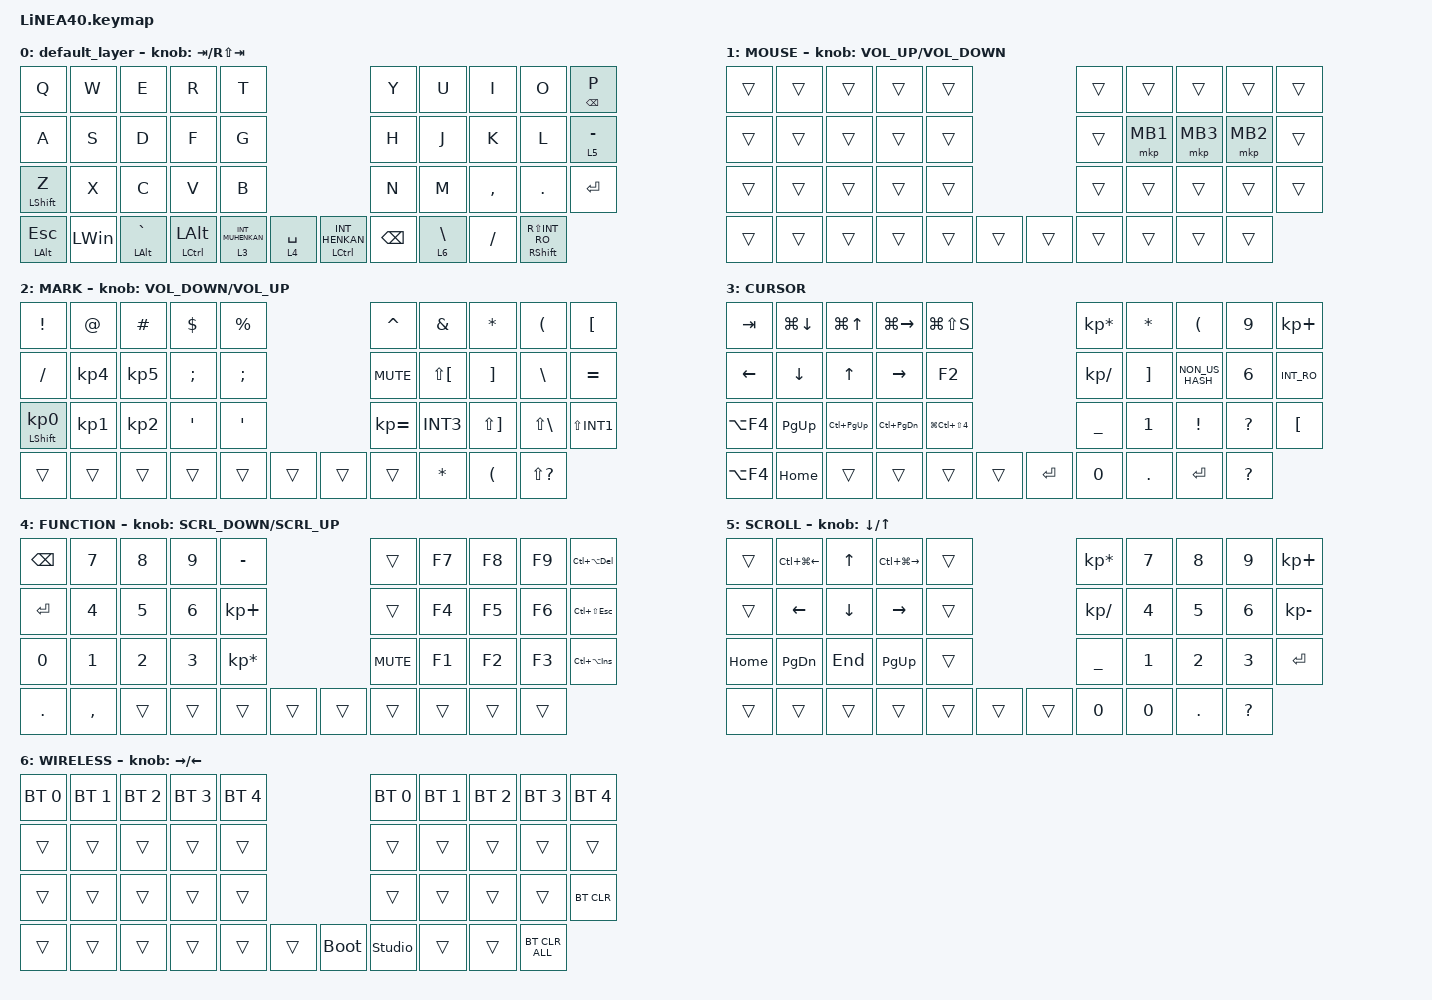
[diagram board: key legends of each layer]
#define ZMK_POINTING_DEFAULT_SCRL_VAL 150

#include <dt-bindings/zmk/input_transform.h>
#include <input/processors.dtsi>
#include <zephyr/dt-bindings/input/input-event-codes.h>
#include <behaviors.dtsi>
#include <dt-bindings/zmk/bt.h>
#include <dt-bindings/zmk/keys.h>
#include <dt-bindings/zmk/pointing.h>

#define MOUSE 1
#define MARK 2
#define CURSOR 3
#define FUNCTION 4
#define SCROLL 5
#define WIRELESS 6

//mouse cursol

&mmv {
    delay-ms = <20>;
    trigger-period-ms = <5>;
    time-to-max-speed-ms = <100>;
    acceleration-exponent = <2>;
};

//mouse scroll

&msc {
    delay-ms = <3>;
    trigger-period-ms = <3>;
    time-to-max-speed-ms = <100>;
    acceleration-exponent = <0>;
};

/ {
    input_processors {
        zip_wheel_scaler: zip_wheel_scaler {
            compatible = "zmk,input-processor-scaler";
            #input-processor-cells = <2>;
            type = <INPUT_EV_REL>;
            codes = <INPUT_REL_WHEEL>;
            track-remainders;
        };
    };
};

&msc_input_listener {
    speed_up {
        layers = <FUNCTION>;
        input-processors = <&zip_wheel_scaler 3 1>; //スクロールを3倍速にする
    };
};

&trackball_listener {
    scroller {
        layers = <SCROLL CURSOR>;
        input-processors =
            <&zip_xy_transform INPUT_TRANSFORM_Y_INVERT>,
            //スクロール方向を逆転,,,,,,,,,
            <&zip_xy_to_scroll_mapper>;
    };
};

/ {
    combos {
        compatible = "zmk,combos";

        ZenkakuHankaku {
            bindings = <&kp GRAVE>;
            key-positions = <11 12>;
        };

        DeleteKey {
            bindings = <&kp DEL>;
            key-positions = <7 8>;
        };

        InsertKey {
            bindings = <&kp INS>;
            key-positions = <6 7>;
        };

        CenterClick {
            bindings = <&mkp MB3>;
            key-positions = <17 16>;
        };

        RightClick {
            bindings = <&mkp MB2>;
            key-positions = <18 17>;
        };

        PrevClick {
            bindings = <&mkp MB4>;
            key-positions = <27 28>;
        };

        ClickNext {
            bindings = <&mkp MB5>;
            key-positions = <26 27>;
        };
    };

    behaviors {
        re_kp: sensor_rotate_kp {
            compatible = "zmk,behavior-sensor-rotate-var";
            #sensor-binding-cells = <2>;
            bindings = <&kp>, <&kp>;
        };

        mouse_scrl: mouse_wheel_scrl {
            compatible = "zmk,behavior-sensor-rotate-var";
            #sensor-binding-cells = <2>;
            bindings = <&msc>, <&msc>;

            tap-ms = <20>;
        };
    };

    keymap {
        compatible = "zmk,keymap";

        default_layer {
            bindings = <
&kp Q             &kp W         &kp E               &kp R                      &kp T                                                           &kp Y          &kp U  &kp I            &kp O      &mt BACKSPACE P
&kp A             &kp S         &kp D               &kp F                      &kp G                                                           &kp H          &kp J  &kp K            &kp L      &lt 5 MINUS
&mt LEFT_SHIFT Z  &kp X         &kp C               &kp V                      &kp B                                                           &kp N          &kp M  &kp COMMA        &kp DOT    &kp ENTER
&mt LEFT_ALT ESC  &kp LEFT_WIN  &mt LEFT_ALT GRAVE  &mt LEFT_CONTROL LEFT_ALT  &lt 3 INT_MUHENKAN  &lt 4 SPACE    &mt LEFT_CONTROL INT_HENKAN  &kp BACKSPACE         &lt 6 BACKSLASH  &kp SLASH  &mt RIGHT_SHIFT RS(INT_RO)
            >;

            sensor-bindings = <&re_kp TAB RS(TAB)>;
        };

        //1

        MOUSE {
            bindings = <
&trans  &trans  &trans  &trans  &trans                    &trans  &trans    &trans    &trans    &trans
&trans  &trans  &trans  &trans  &trans                    &trans  &mkp MB1  &mkp MB3  &mkp MB2  &trans
&trans  &trans  &trans  &trans  &trans                    &trans  &trans    &trans    &trans    &trans
&trans  &trans  &trans  &trans  &trans  &trans    &trans  &trans            &trans    &trans    &trans
            >;

            sensor-bindings = <&inc_dec_kp C_VOL_UP C_VOLUME_DOWN>;
        };

        //2

        MARK {
            bindings = <
&kp EXCLAMATION             &kp AT           &kp HASH         &kp DOLLAR     &kp PERCENT                      &kp CARET     &kp AMPERSAND  &kp ASTERISK           &kp LEFT_PARENTHESIS  &kp LBKT
&kp SLASH                   &kp KP_NUMBER_4  &kp KP_NUMBER_5  &kp SEMICOLON  &kp SEMICOLON                    &kp C_MUTE    &kp LS(LBKT)   &kp RIGHT_BRACKET      &kp BACKSLASH         &kp EQUAL
&mt LEFT_SHIFT KP_NUMBER_0  &kp KP_NUMBER_1  &kp KP_NUMBER_2  &kp APOS       &kp SQT                          &kp KP_EQUAL  &kp INT3       &kp LS(RIGHT_BRACKET)  &kp LS(BACKSLASH)     &kp LS(INT1)
&trans                      &trans           &trans           &trans         &trans         &trans    &trans  &trans                       &kp ASTERISK           &kp LEFT_PARENTHESIS  &kp LS(QUESTION)
            >;

            sensor-bindings = <&re_kp C_VOLUME_DOWN C_VOLUME_UP>;
        };

        //3

        CURSOR {
            bindings = <
&kp TAB     &kp LG(DOWN)  &kp LG(UP)     &kp LG(RIGHT)    &kp LG(LS(S))                                  &kp KP_MULTIPLY  &kp ASTERISK       &kp LEFT_PARENTHESIS  &kp NUMBER_9  &kp KP_PLUS
&kp LEFT    &kp DOWN      &kp UP         &kp RIGHT_ARROW  &kp F2                                         &kp KP_SLASH     &kp RIGHT_BRACKET  &kp NON_US_HASH       &kp NUMBER_6  &kp INT_RO
&kp LA(F4)  &kp PG_UP     &kp LC(PG_UP)  &kp LC(PG_DN)    &kp LG(LC(LS(NUMBER_4)))                       &kp UNDER        &kp NUMBER_1       &kp EXCLAMATION       &kp QUESTION  &kp LEFT_BRACKET
&kp LA(F4)  &kp HOME      &trans         &trans           &trans                    &trans    &kp ENTER  &kp NUMBER_0                        &kp DOT               &kp ENTER     &kp QUESTION
            >;
        };

        //4

        FUNCTION {
            bindings = <
&kp BACKSPACE  &kp NUMBER_7  &kp NUMBER_8  &kp NUMBER_9  &kp MINUS                          &trans      &kp F7  &kp F8  &kp F9  &kp LC(LA(DELETE))
&kp ENTER      &kp NUMBER_4  &kp NUMBER_5  &kp NUMBER_6  &kp KP_PLUS                        &trans      &kp F4  &kp F5  &kp F6  &kp LC(LS(ESCAPE))
&kp NUMBER_0   &kp NUMBER_1  &kp NUMBER_2  &kp NUMBER_3  &kp KP_MULTIPLY                    &kp C_MUTE  &kp F1  &kp F2  &kp F3  &kp LC(LA(INS))
&kp PERIOD     &kp COMMA     &trans        &trans        &trans           &trans    &trans  &trans              &trans  &trans  &trans
            >;

            sensor-bindings = <&mouse_scrl SCRL_DOWN SCRL_UP>;
        };

        //5

        SCROLL {
            bindings = <
&trans    &kp LC(LG(LEFT_ARROW))  &kp UP_ARROW  &kp LC(LG(RIGHT_ARROW))  &trans                    &kp KP_MULTIPLY  &kp NUMBER_7  &kp NUMBER_8  &kp NUMBER_9  &kp KP_PLUS
&trans    &kp LEFT_ARROW          &kp DOWN      &kp RIGHT_ARROW          &trans                    &kp KP_SLASH     &kp NUMBER_4  &kp NUMBER_5  &kp NUMBER_6  &kp KP_MINUS
&kp HOME  &kp PAGE_DOWN           &kp END       &kp PAGE_UP              &trans                    &kp UNDER        &kp NUMBER_1  &kp NUMBER_2  &kp NUMBER_3  &kp ENTER
&trans    &trans                  &trans        &trans                   &trans  &trans    &trans  &kp NUMBER_0                   &kp NUMBER_0  &kp DOT       &kp QUESTION
            >;

            sensor-bindings = <&inc_dec_kp DOWN_ARROW UP_ARROW>;
        };

        //6

        WIRELESS {
            bindings = <
&bt BT_SEL 0  &bt BT_SEL 1  &bt BT_SEL 2  &bt BT_SEL 3  &bt BT_SEL 4                         &bt BT_SEL 0    &bt BT_SEL 1  &bt BT_SEL 2  &bt BT_SEL 3  &bt BT_SEL 4
&trans        &trans        &trans        &trans        &trans                               &trans          &trans        &trans        &trans        &trans
&trans        &trans        &trans        &trans        &trans                               &trans          &trans        &trans        &trans        &bt BT_CLR
&trans        &trans        &trans        &trans        &trans        &trans    &bootloader  &studio_unlock                &trans        &trans        &bt BT_CLR_ALL
            >;

            sensor-bindings = <&inc_dec_kp RIGHT_ARROW LEFT_ARROW>;
        };
    };
};
